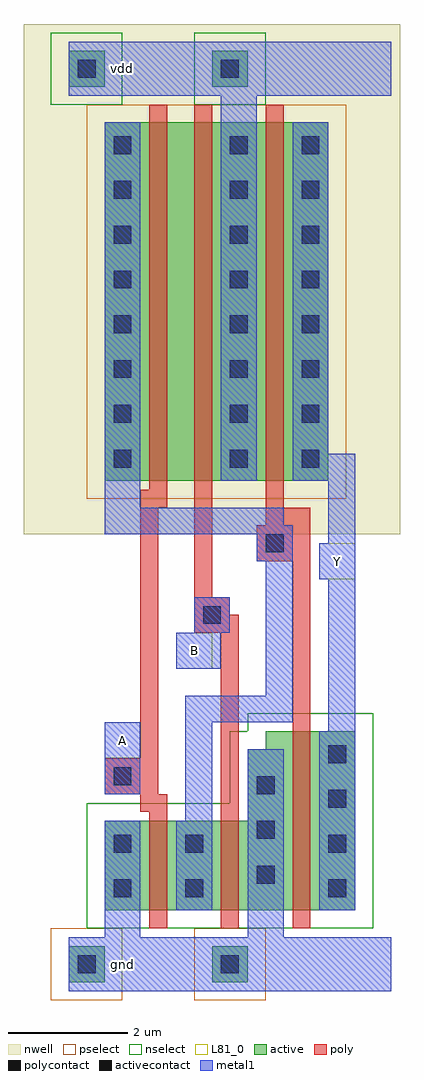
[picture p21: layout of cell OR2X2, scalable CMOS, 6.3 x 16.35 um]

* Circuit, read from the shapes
.subckt OR2X2 A B Y gnd vdd
M1 n1 A gnd gnd nfet w=1.5u l=0.3u
M2 gnd B n1 gnd nfet w=1.5u l=0.3u
M3 Y n1 gnd gnd nfet w=3u l=0.3u
M4 n2 A n1 vdd pfet w=6u l=0.3u
M5 vdd B n2 vdd pfet w=6u l=0.3u
M6 Y n1 vdd vdd pfet w=6u l=0.3u
.ends

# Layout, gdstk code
import gdstk
lib = gdstk.Library(unit=1e-6, precision=1e-09)
def R(c, l, rs):  # rectangles x0, y0, x1, y1
    for r in rs: c.add(gdstk.rectangle(r[:2], r[2:], *l))
def A(c, l, x, y, w, h, nx, ny, dx, dy):  # array of equal rectangles
    R(c, l, [(x+i*dx, y+j*dy, x+i*dx+w, y+j*dy+h) for i in range(nx) for j in range(ny)])
nwell = (42, 0)
active = (43, 0)
pselect = (44, 0)
nselect = (45, 0)
poly = (46, 0)
polycontact = (47, 0)
activecontact = (48, 0)
metal1 = (49, 0)
L81_0 = (81, 0)

or2x2 = lib.new_cell('OR2X2')
R(or2x2, nwell, [(-1.05,7.2,5.25,15.75)])
R(or2x2, active, [(-0.3,-0.3,0.3,0.3), (2.1,-0.3,2.7,0.3), (0.3,0.9,4.5,2.4), (2.7,2.4,4.5,3.6), (3,3.6,4.5,3.9), (0.3,8.1,4.05,14.1), (-0.3,14.7,0.3,15.3), (2.1,14.7,2.7,15.3)])
R(or2x2, pselect, [(-0.6,-0.6,0.6,0.6), (1.8,-0.6,3,0.6), (0,7.8,4.35,14.4)])
R(or2x2, nselect, [(0,0.6,4.8,2.7), (2.4,2.7,4.8,3.9), (2.7,3.9,4.8,4.2), (-0.6,14.4,0.6,15.6), (1.8,14.4,3,15.6)])
R(or2x2, poly, [(1.05,0.6,1.35,2.55), (2.25,0.6,2.55,5.55), (3.45,0.6,3.75,6.75), (0.9,2.55,1.35,2.85), (0.3,2.85,1.2,3.45), (0.9,3.45,1.2,7.65), (1.8,5.55,2.55,5.85), (1.8,5.85,2.4,6.15), (1.8,6.15,2.1,14.4), (2.85,6.75,3.75,7.35), (3,7.35,3.75,7.65), (0.9,7.65,1.35,7.95), (3,7.65,3.3,14.4), (1.05,7.95,1.35,14.4)])
R(or2x2, polycontact, [(0.45,3,0.75,3.3), (1.95,5.7,2.25,6), (3,6.9,3.3,7.2)])
A(or2x2, activecontact, 4.05, 1.12, 0.3, 0.3, 1, 4, 0, 0.75)
A(or2x2, activecontact, 2.85, 1.35, 0.3, 0.3, 1, 3, 0, 0.75)
A(or2x2, activecontact, 0.45, 8.32, 0.3, 0.3, 1, 8, 0, 0.75)
A(or2x2, activecontact, 2.4, 8.32, 0.3, 0.3, 1, 8, 0, 0.75)
A(or2x2, activecontact, 3.6, 8.32, 0.3, 0.3, 1, 8, 0, 0.75)
R(or2x2, activecontact, [(-0.15,-0.15,0.15,0.15), (2.25,-0.15,2.55,0.15), (0.45,1.12,0.75,1.42), (1.65,1.12,1.95,1.42), (0.45,1.87,0.75,2.17), (1.65,1.87,1.95,2.17), (-0.15,14.85,0.15,15.15), (2.25,14.85,2.55,15.15)])
R(or2x2, metal1, [(-0.3,-0.45,5.1,0.45), (0.3,0.45,0.9,2.4), (2.7,0.45,3.3,3.6), (1.5,0.9,2.1,2.4), (3.9,0.9,4.5,3.9), (1.65,2.4,2.1,4.05), (0.3,2.85,0.9,4.05), (4.05,3.9,4.5,6.45), (1.65,4.05,3.45,4.5), (3,4.5,3.45,6.75), (1.5,4.95,2.25,5.55), (1.8,5.55,2.4,6.15), (3.9,6.45,4.5,7.05), (2.85,6.75,3.45,7.2), (4.05,7.05,4.5,8.1), (0.3,7.2,3.45,7.35), (0.3,7.35,3.3,7.65), (0.3,7.65,0.9,14.1), (2.25,8.1,2.85,14.55), (3.45,8.1,4.5,8.55), (3.45,8.55,4.05,14.1), (-0.3,14.55,5.1,15.45)])
R(or2x2, L81_0, [(0.3,3.45,0.9,4.05), (1.5,4.95,2.1,5.55), (3.9,6.45,4.5,7.05)])
or2x2.add(gdstk.Label('Y', (4.2,6.75), layer=109, texttype=0))
or2x2.add(gdstk.Label('B', (1.8,5.25), layer=109, texttype=0))
or2x2.add(gdstk.Label('vdd', (0.6,15), layer=109, texttype=0))
or2x2.add(gdstk.Label('gnd', (0.6,0), layer=109, texttype=0))
or2x2.add(gdstk.Label('A', (0.6,3.75), layer=109, texttype=0))

lib.write_gds('OR2X2.gds')
